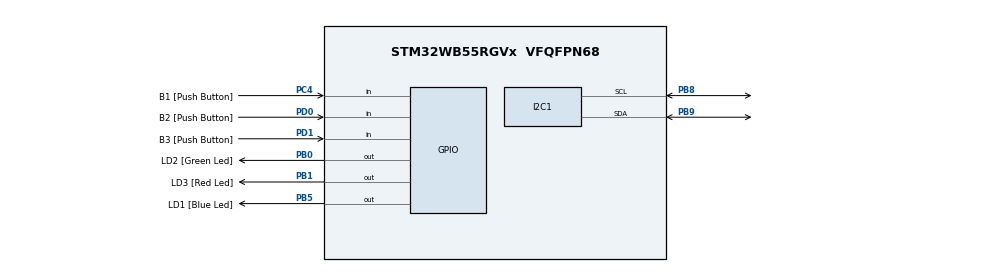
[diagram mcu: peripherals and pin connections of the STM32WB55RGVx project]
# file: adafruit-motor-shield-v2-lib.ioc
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I2C1.I2C_Coeff_DF=2
I2C1.Timing=0x00707AB9
Mcu.Family=STM32WB
Mcu.Name=STM32WB55RGVx
Mcu.Package=VFQFPN68
NVIC.I2C1_ER_IRQn=true\:0\:0\:false\:false\:true\:true\:true
NVIC.I2C1_EV_IRQn=true\:0\:0\:false\:false\:true\:true\:true
NVIC.PriorityGroup=NVIC_PRIORITYGROUP_4
OSC_IN.Mode=HSE-External-Oscillator
OSC_IN.Signal=RCC_OSC_IN
OSC_OUT.Mode=HSE-External-Oscillator
OSC_OUT.Signal=RCC_OSC_OUT
PA11.Signal=USB_DM
PA12.Signal=USB_DP
PA13.GPIO_Label=JTMS
PA13.Signal=SYS_JTMS-SWDIO
PA14.GPIO_Label=JTCK
PA14.Signal=SYS_JTCK-SWCLK
PB0.GPIO_Label=LD2 [Green Led]
PB0.Signal=GPIO_Output
PB1.GPIO_Label=LD3 [Red Led]
PB1.Signal=GPIO_Output
PB3.GPIO_Label=JTDO
PB3.Signal=SYS_JTDO-SWO
PB5.GPIO_Label=LD1 [Blue Led]
PB5.Signal=GPIO_Output
PB6.GPIO_Label=STLINK_RX
PB6.Signal=USART1_TX
PB7.GPIO_Label=STLINK_TX
PB7.Signal=USART1_RX
PB8.GPIO_PuPdOD=GPIO_NOPULL
PB8.Mode=I2C
PB8.Signal=I2C1_SCL
PB9.GPIO_PuPdOD=GPIO_NOPULL
PB9.Mode=I2C
PB9.Signal=I2C1_SDA
PC13.Signal=SYS_WKUP2
PC14-OSC32_IN.Signal=RCC_OSC32_IN
PC15-OSC32_OUT.Signal=RCC_OSC32_OUT
PC4.GPIO_Label=B1 [Push Button]
PC4.Signal=GPIO_Input
PD0.GPIO_Label=B2 [Push Button]
PD0.Signal=GPIO_Input
PD1.GPIO_Label=B3 [Push Button]
PD1.Signal=GPIO_Input
ProjectManager.HeapSize=0x200
ProjectManager.StackSize=0x400
ProjectManager.TargetToolchain=Makefile
RCC.ADCFreq_Value=128000000
RCC.AHBFreq_Value=32000000
RCC.APB1Freq_Value=32000000
RCC.APB1TimFreq_Value=32000000
RCC.APB2Freq_Value=32000000
RCC.APB2TimFreq_Value=32000000
RCC.APB3Freq_Value=16000000
RCC.CortexFreq_Value=32000000
RCC.HCLKFreq_Value=32000000
RCC.HSE_VALUE=32000000
RCC.HSI48_VALUE=48000000
RCC.HSI_VALUE=16000000
RCC.LSE_VALUE=32768
RCC.MSIClockRange=RCC_MSIRANGE_10
RCC.SMPSCLockSelectionVirtual=RCC_SMPSCLKSOURCE_HSI
RCC.SYSCLKFreq_VALUE=32000000
RCC.USBFreq_Value=128000000
RCC.VCOOutputFreq_Value=256000000
board=P-NUCLEO-WB55-Nucleo

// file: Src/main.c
/* USER CODE BEGIN Header */
/**
  ******************************************************************************
  * @file           : main.c
  * @brief          : Main program body
  ******************************************************************************
  * @attention
  *
  * <h2><center>&copy; Copyright (c) 2019 STMicroelectronics.
  * All rights reserved.</center></h2>
  *
  * This software component is licensed by ST under BSD 3-Clause license,
  * the "License"; You may not use this file except in compliance with the
  * License. You may obtain a copy of the License at:
  *                        opensource.org/licenses/BSD-3-Clause
  *
  ******************************************************************************
  */
/* USER CODE END Header */

#include "main.h"

/* USER CODE BEGIN Includes */
#include "motor_shield.h"
/* USER CODE END Includes */

/* USER CODE BEGIN PD */
#define MS_I2C_ADDRESS ((uint8_t) 0xC0)
/* USER CODE END PD */

I2C_HandleTypeDef hi2c1;

/* USER CODE BEGIN PV */
MotorShield_dev MS;
pca9685_dev pca9685;
uint8_t rxI2C_buffer[64];
uint8_t txI2C_buffer[64];

/* USER CODE END PV */

void SystemClock_Config(void);
static void MX_GPIO_Init(void);
static void MX_I2C1_Init(void);
/* USER CODE BEGIN PFP */
void Motor_Shield_Init(void);
void delay_ms(uint16_t period);
int8_t i2c_read(uint8_t dev_id, uint8_t reg_addr, uint8_t *reg_data, uint16_t len);
int8_t i2c_write(uint8_t dev_id, uint8_t reg_addr, uint8_t *reg_data, uint16_t len);
/* USER CODE END PFP */

int main(void)
{

  /* MCU Configuration--------------------------------------------------------*/

  /* Reset of all peripherals, Initializes the Flash interface and the Systick. */
  HAL_Init();

  /* Configure the system clock */
  SystemClock_Config();

  /* Initialize all configured peripherals */
  MX_GPIO_Init();
  MX_I2C1_Init();
  /* USER CODE BEGIN 2 */
  Motor_Shield_Init();
  /* USER CODE END 2 */

  /* Infinite loop */
  /* USER CODE BEGIN WHILE */
  while (1)
  {
    MS_DC_drive(&MS, MS_DC_MOTOR_1, MS_CW, 2048);

    HAL_Delay(750);

    MS_DC_drive(&MS, MS_DC_MOTOR_1, MS_SHORT_BRAKE, 0);

    HAL_Delay(1000);
    /* USER CODE END WHILE */

  }
}

void SystemClock_Config(void)
{
  RCC_OscInitTypeDef RCC_OscInitStruct = {0};
  RCC_ClkInitTypeDef RCC_ClkInitStruct = {0};
  RCC_PeriphCLKInitTypeDef PeriphClkInitStruct = {0};

  /** Configure the main internal regulator output voltage
  */
  __HAL_PWR_VOLTAGESCALING_CONFIG(PWR_REGULATOR_VOLTAGE_SCALE1);
  /** Initializes the CPU, AHB and APB busses clocks
  */
  RCC_OscInitStruct.OscillatorType = RCC_OSCILLATORTYPE_HSI|RCC_OSCILLATORTYPE_HSE
                              |RCC_OSCILLATORTYPE_MSI;
  RCC_OscInitStruct.HSEState = RCC_HSE_ON;
  RCC_OscInitStruct.HSIState = RCC_HSI_ON;
  RCC_OscInitStruct.MSIState = RCC_MSI_ON;
  RCC_OscInitStruct.HSICalibrationValue = RCC_HSICALIBRATION_DEFAULT;
  RCC_OscInitStruct.MSICalibrationValue = RCC_MSICALIBRATION_DEFAULT;
  RCC_OscInitStruct.MSIClockRange = RCC_MSIRANGE_10;
  RCC_OscInitStruct.PLL.PLLState = RCC_PLL_NONE;
  if (HAL_RCC_OscConfig(&RCC_OscInitStruct) != HAL_OK)
  {
    Error_Handler();
  }
  /** Configure the SYSCLKSource, HCLK, PCLK1 and PCLK2 clocks dividers
  */
  RCC_ClkInitStruct.ClockType = RCC_CLOCKTYPE_HCLK4|RCC_CLOCKTYPE_HCLK2
                              |RCC_CLOCKTYPE_HCLK|RCC_CLOCKTYPE_SYSCLK
                              |RCC_CLOCKTYPE_PCLK1|RCC_CLOCKTYPE_PCLK2;
  RCC_ClkInitStruct.SYSCLKSource = RCC_SYSCLKSOURCE_MSI;
  RCC_ClkInitStruct.AHBCLKDivider = RCC_SYSCLK_DIV1;
  RCC_ClkInitStruct.APB1CLKDivider = RCC_HCLK_DIV1;
  RCC_ClkInitStruct.APB2CLKDivider = RCC_HCLK_DIV1;
  RCC_ClkInitStruct.AHBCLK2Divider = RCC_SYSCLK_DIV1;
  RCC_ClkInitStruct.AHBCLK4Divider = RCC_SYSCLK_DIV1;

  if (HAL_RCC_ClockConfig(&RCC_ClkInitStruct, FLASH_LATENCY_1) != HAL_OK)
  {
    Error_Handler();
  }
  /** Initializes the peripherals clocks
  */
  PeriphClkInitStruct.PeriphClockSelection = RCC_PERIPHCLK_SMPS|RCC_PERIPHCLK_I2C1;
  PeriphClkInitStruct.I2c1ClockSelection = RCC_I2C1CLKSOURCE_PCLK1;
  PeriphClkInitStruct.SmpsClockSelection = RCC_SMPSCLKSOURCE_HSI;
  PeriphClkInitStruct.SmpsDivSelection = RCC_SMPSCLKDIV_RANGE1;

  if (HAL_RCCEx_PeriphCLKConfig(&PeriphClkInitStruct) != HAL_OK)
  {
    Error_Handler();
  }
}

static void MX_I2C1_Init(void)
{

  hi2c1.Instance = I2C1;
  hi2c1.Init.Timing = 0x00707AB9;
  hi2c1.Init.OwnAddress1 = 0;
  hi2c1.Init.AddressingMode = I2C_ADDRESSINGMODE_7BIT;
  hi2c1.Init.DualAddressMode = I2C_DUALADDRESS_DISABLE;
  hi2c1.Init.OwnAddress2 = 0;
  hi2c1.Init.OwnAddress2Masks = I2C_OA2_NOMASK;
  hi2c1.Init.GeneralCallMode = I2C_GENERALCALL_DISABLE;
  hi2c1.Init.NoStretchMode = I2C_NOSTRETCH_DISABLE;
  if (HAL_I2C_Init(&hi2c1) != HAL_OK)
  {
    Error_Handler();
  }
  /** Configure Analogue filter
  */
  if (HAL_I2CEx_ConfigAnalogFilter(&hi2c1, I2C_ANALOGFILTER_ENABLE) != HAL_OK)
  {
    Error_Handler();
  }
  /** Configure Digital filter
  */
  if (HAL_I2CEx_ConfigDigitalFilter(&hi2c1, 2) != HAL_OK)
  {
    Error_Handler();
  }

}

static void MX_GPIO_Init(void)
{
  GPIO_InitTypeDef GPIO_InitStruct = {0};

  /* GPIO Ports Clock Enable */
  __HAL_RCC_GPIOC_CLK_ENABLE();
  __HAL_RCC_GPIOB_CLK_ENABLE();
  __HAL_RCC_GPIOA_CLK_ENABLE();
  __HAL_RCC_GPIOD_CLK_ENABLE();

  /*Configure GPIO pin Output Level */
  HAL_GPIO_WritePin(GPIOB, LD2_Pin|LD3_Pin|LD1_Pin, GPIO_PIN_RESET);

  /*Configure GPIO pin : B1_Pin */
  GPIO_InitStruct.Pin = B1_Pin;
  GPIO_InitStruct.Mode = GPIO_MODE_INPUT;
  GPIO_InitStruct.Pull = GPIO_NOPULL;
  HAL_GPIO_Init(B1_GPIO_Port, &GPIO_InitStruct);

  /*Configure GPIO pins : LD2_Pin LD3_Pin LD1_Pin */
  GPIO_InitStruct.Pin = LD2_Pin|LD3_Pin|LD1_Pin;
  GPIO_InitStruct.Mode = GPIO_MODE_OUTPUT_PP;
  GPIO_InitStruct.Pull = GPIO_NOPULL;
  GPIO_InitStruct.Speed = GPIO_SPEED_FREQ_LOW;
  HAL_GPIO_Init(GPIOB, &GPIO_InitStruct);

  /*Configure GPIO pins : PA11 PA12 */
  GPIO_InitStruct.Pin = GPIO_PIN_11|GPIO_PIN_12;
  GPIO_InitStruct.Mode = GPIO_MODE_AF_PP;
  GPIO_InitStruct.Pull = GPIO_NOPULL;
  GPIO_InitStruct.Speed = GPIO_SPEED_FREQ_LOW;
  GPIO_InitStruct.Alternate = GPIO_AF10_USB;
  HAL_GPIO_Init(GPIOA, &GPIO_InitStruct);

  /*Configure GPIO pins : B2_Pin B3_Pin */
  GPIO_InitStruct.Pin = B2_Pin|B3_Pin;
  GPIO_InitStruct.Mode = GPIO_MODE_INPUT;
  GPIO_InitStruct.Pull = GPIO_NOPULL;
  HAL_GPIO_Init(GPIOD, &GPIO_InitStruct);

  /*Configure GPIO pins : STLINK_RX_Pin STLINK_TX_Pin */
  GPIO_InitStruct.Pin = STLINK_RX_Pin|STLINK_TX_Pin;
  GPIO_InitStruct.Mode = GPIO_MODE_AF_PP;
  GPIO_InitStruct.Pull = GPIO_NOPULL;
  GPIO_InitStruct.Speed = GPIO_SPEED_FREQ_LOW;
  GPIO_InitStruct.Alternate = GPIO_AF7_USART1;
  HAL_GPIO_Init(GPIOB, &GPIO_InitStruct);

}

/* USER CODE BEGIN 4 */
/*
 * ===  FUNCTION  ======================================================================
 *         Name:  Motor_Shield_Init
 *  Description:
 * =====================================================================================
 */
void Motor_Shield_Init (void)
{
        pca9685 = pca9685_init_struct(MS_I2C_ADDRESS,
                                      (pca9685_i2c_com_fptr_t) i2c_write,
                                      (pca9685_i2c_com_fptr_t) i2c_read,
                                      delay_ms, 1200);
        MS.pca9685 = &pca9685;
        MS.driver1_mode = TB6612_2DC_MODE;
        MS.driver2_mode = TB6612_2DC_MODE;

        if (MS_Init(&MS) != 0)
        {
            Error_Handler();
        }
}		/* -----  end of function Motor_Shield_Init  ----- */

/*-----------------------------------------------------------------------------
 *  Functions for I2C communication with PCA9685 IC
 *-----------------------------------------------------------------------------*/

/*
 * ===  FUNCTION  ======================================================================
 *         Name:  delay_ms
 *  Description:  Example of delay function
 * =====================================================================================
 */
void delay_ms(uint16_t period)
{
    HAL_Delay(period);
}

/*
 * ===  FUNCTION  ======================================================================
 *         Name:  i2c_read
 *  Description:  Example of i2c read function
 * =====================================================================================
 */
int8_t i2c_read(uint8_t dev_id, uint8_t reg_addr, uint8_t *reg_data, uint16_t len)
{
    int8_t rslt = 0;                    /* Return 0 for Success, non-zero for failure */

    uint16_t dev_addr = (uint16_t) dev_id;
    /*
     * The parameter dev_id can be used as a variable to store the I2C address of the device
     */

    do
    {
        if (HAL_I2C_Master_Transmit_IT(&hi2c1, dev_addr, (uint8_t *) &reg_addr, len) != HAL_OK)
        {
            Error_Handler();
            rslt = -1;
        }

        do {} while (HAL_I2C_GetState(&hi2c1) != HAL_I2C_STATE_READY);

        if (HAL_I2C_GetError(&hi2c1) != HAL_I2C_ERROR_NONE) { HAL_GPIO_WritePin(LD3_GPIO_Port, LD3_Pin, GPIO_PIN_SET); }

        if (len > 0)
        {
            if(HAL_I2C_Master_Receive_IT(&hi2c1, dev_addr, reg_data, len) != HAL_OK)
            {
                /* Error_Handler() function is called when error occurs. */
                Error_Handler();
                rslt = -1;
            }

            do {} while (HAL_I2C_GetState(&hi2c1) != HAL_I2C_STATE_READY);

            if (HAL_I2C_GetError(&hi2c1) != HAL_I2C_ERROR_NONE) { HAL_GPIO_WritePin(LD2_GPIO_Port, LD2_Pin, GPIO_PIN_SET); }
        }
    }
    while (HAL_I2C_GetError(&hi2c1) == HAL_I2C_ERROR_AF);

    return rslt;
}

/*
 * ===  FUNCTION  ======================================================================
 *         Name:  i2c_write
 *  Description:  Example of i2c write function
 * =====================================================================================
 */
int8_t i2c_write(uint8_t dev_id, uint8_t reg_addr, uint8_t *reg_data, uint16_t len)
{
    int8_t rslt = 0;                            /* Return 0 for Success, non-zero for failure */
    int16_t dev_addr = (uint16_t) dev_id;       /* I2C address */

    /* Build write command */
    txI2C_buffer[0] = reg_addr;                 /* register address */
    int8_t i = 1;
    do {
        txI2C_buffer[i] = reg_data[i-1];
        i++;
    } while (i<len);

    /* I2C transmit */
    do
    {
        if (HAL_I2C_Master_Transmit_IT(&hi2c1, dev_addr, (uint8_t *) txI2C_buffer, len+1) != HAL_OK)    /* Send command */
        {
            Error_Handler();
            rslt = -1;
        }

        do {} while (HAL_I2C_GetState(&hi2c1) != HAL_I2C_STATE_READY);

        if (HAL_I2C_GetError(&hi2c1) != HAL_I2C_ERROR_NONE) { HAL_GPIO_WritePin(LD3_GPIO_Port, LD3_Pin, GPIO_PIN_SET); }
    }
    while (HAL_I2C_GetError(&hi2c1) == HAL_I2C_ERROR_AF);

    return rslt;
}

/*-----------------------------------------------------------------------------
 *  I2C callback functions
 *-----------------------------------------------------------------------------*/

/**
  * @brief  Tx Transfer completed callback
  * @param  hi2c: I2C handle.
  * @note   This example shows a simple way to report end of DMA Tx transfer, and
  *         you can add your own implementation.
  * @retval None
  */
void HAL_I2C_TxCpltCallback(I2C_HandleTypeDef *hi2c)
{
    /* Toggle Pin 3 to indicate I2C tx completion */
    HAL_GPIO_TogglePin(LD3_GPIO_Port, LD3_Pin);
}

/**
  * @brief  Rx Transfer completed callback
  * @param  hi2c: I2C handle.
  * @note   This example shows a simple way to report end of DMA Rx transfer, and
  *         you can add your own implementation.
  * @retval None
  */
void HAL_I2C_RxCpltCallback(I2C_HandleTypeDef *hi2c)
{
    /* Toggle Pin 2 to indicate I2C rx completion */
    HAL_GPIO_TogglePin(LD2_GPIO_Port, LD2_Pin);
}

void HAL_I2C_ErrorCallback(I2C_HandleTypeDef *I2cHandle)
{
  if (HAL_I2C_GetError(I2cHandle) != HAL_I2C_ERROR_AF)
  {
    Error_Handler();
  }
}

/* USER CODE END 4 */

void Error_Handler(void)
{
  /* USER CODE BEGIN Error_Handler_Debug */
    /* User can add his own implementation to report the HAL error return state */
    while (1)
    {
        HAL_GPIO_TogglePin(LD1_GPIO_Port, LD1_Pin);
        HAL_Delay(250);
        HAL_GPIO_TogglePin(LD2_GPIO_Port, LD2_Pin);
        HAL_Delay(250);
        HAL_GPIO_TogglePin(LD3_GPIO_Port, LD3_Pin);
        HAL_Delay(250);
    }

  /* USER CODE END Error_Handler_Debug */
}

/************************ (C) COPYRIGHT STMicroelectronics *****END OF FILE****/
